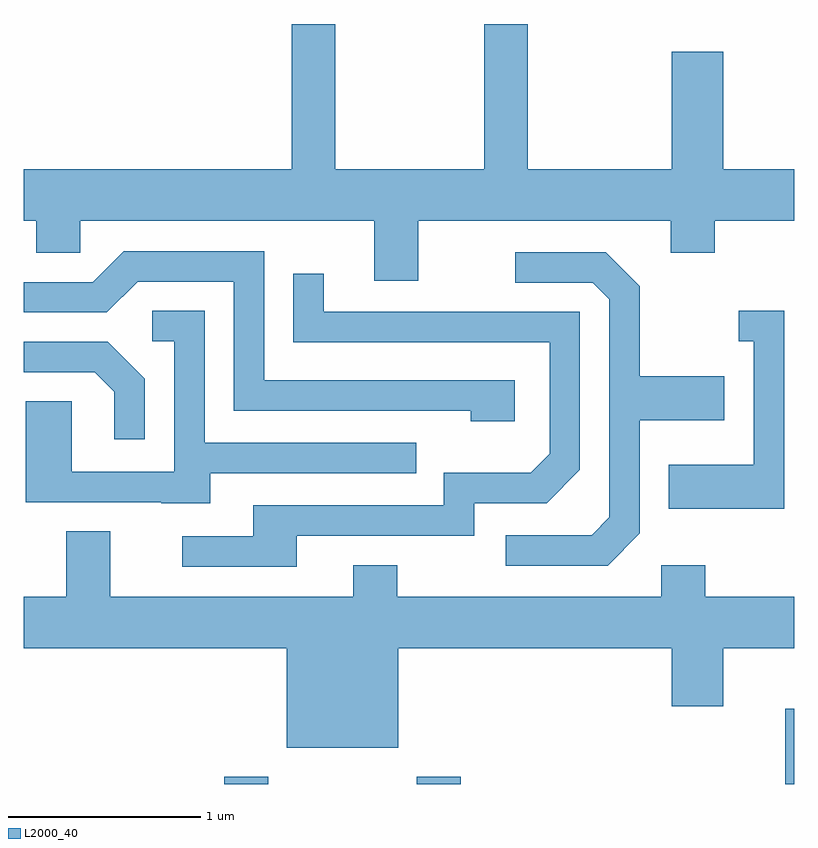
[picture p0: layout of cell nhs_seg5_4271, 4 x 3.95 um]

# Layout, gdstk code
import gdstk
lib = gdstk.Library(unit=1e-6, precision=1e-09)
def R(c, l, rs):  # rectangles x0, y0, x1, y1
    for r in rs: c.add(gdstk.rectangle(r[:2], r[2:], *l))
def P(c, l, *ps):  # polygons
    for p in ps: c.add(gdstk.Polygon(p, *l))
L2000_40 = (2000, 40)

nhs_seg5_4271 = lib.new_cell('nhs_seg5_4271')
R(nhs_seg5_4271, L2000_40, [(312.651,1476.072,312.879,1476.109), (313.651,1476.072,313.879,1476.109), (315.566,1476.072,315.611,1476.464)])
P(nhs_seg5_4271, L2000_40, [(313.659,1478.996),(314.971,1478.996),(314.971,1478.831),(315.199,1478.831),(315.199,1478.996),(315.611,1478.996),(315.611,1479.264),(315.244,1479.264),(315.244,1479.874),(314.976,1479.874),(314.976,1479.264),(314.229,1479.264),(314.229,1480.019),(314.001,1480.019),(314.001,1479.264),(313.229,1479.264),(313.229,1480.019),(313.001,1480.019),(313.001,1479.264),(311.611,1479.264),(311.611,1478.996),(311.676,1478.996),(311.676,1478.831),(311.904,1478.831),(311.904,1478.996),(313.431,1478.996),(313.431,1478.686),(313.659,1478.686)],
  [(314.159,1478.169),(312.859,1478.169),(312.859,1478.839),(312.129,1478.839),(311.969,1478.679),(311.611,1478.679),(311.611,1478.521),(312.042,1478.521),(312.202,1478.681),(312.701,1478.681),(312.701,1478.011),(313.931,1478.011),(313.931,1477.956),(314.159,1477.956)],
  [(314.809,1477.374),(314.809,1477.961),(315.249,1477.961),(315.249,1478.189),(314.809,1478.189),(314.809,1478.657),(314.632,1478.834),(314.163,1478.834),(314.163,1478.676),(314.564,1478.676),(314.651,1478.589),(314.651,1477.457),(314.559,1477.364),(314.113,1477.364),(314.113,1477.206),(314.642,1477.206)],
  [(313.029,1477.361),(313.949,1477.361),(313.949,1477.531),(314.327,1477.531),(314.499,1477.704),(314.499,1478.524),(313.169,1478.524),(313.169,1478.723),(313.011,1478.723),(313.011,1478.366),(314.341,1478.366),(314.341,1477.787),(314.244,1477.689),(313.791,1477.689),(313.791,1477.519),(312.801,1477.519),(312.801,1477.359),(312.433,1477.359),(312.433,1477.201),(313.029,1477.201)],
  [(312.579,1477.686),(313.648,1477.686),(313.648,1477.844),(312.549,1477.844),(312.549,1478.529),(312.278,1478.529),(312.278,1478.371),(312.391,1478.371),(312.391,1477.694),(311.859,1477.694),(311.859,1478.059),(311.621,1478.059),(311.621,1477.536),(312.325,1477.536),(312.325,1477.531),(312.579,1477.531)],
  [(315.559,1478.529),(315.323,1478.529),(315.323,1478.371),(315.401,1478.371),(315.401,1477.729),(314.961,1477.729),(314.961,1477.501),(315.559,1477.501)],
  [(312.239,1478.177),(312.047,1478.369),(311.611,1478.369),(311.611,1478.211),(311.979,1478.211),(312.081,1478.109),(312.081,1477.863),(312.239,1477.863)],
  [(313.554,1476.776),(314.976,1476.776),(314.976,1476.476),(315.244,1476.476),(315.244,1476.776),(315.611,1476.776),(315.611,1477.044),(315.149,1477.044),(315.149,1477.209),(314.921,1477.209),(314.921,1477.044),(313.549,1477.044),(313.549,1477.209),(313.321,1477.209),(313.321,1477.044),(312.059,1477.044),(312.059,1477.384),(311.831,1477.384),(311.831,1477.044),(311.611,1477.044),(311.611,1476.776),(312.976,1476.776),(312.976,1476.261),(313.554,1476.261)])

lib.write_gds('nhs_seg5_4271.gds')
